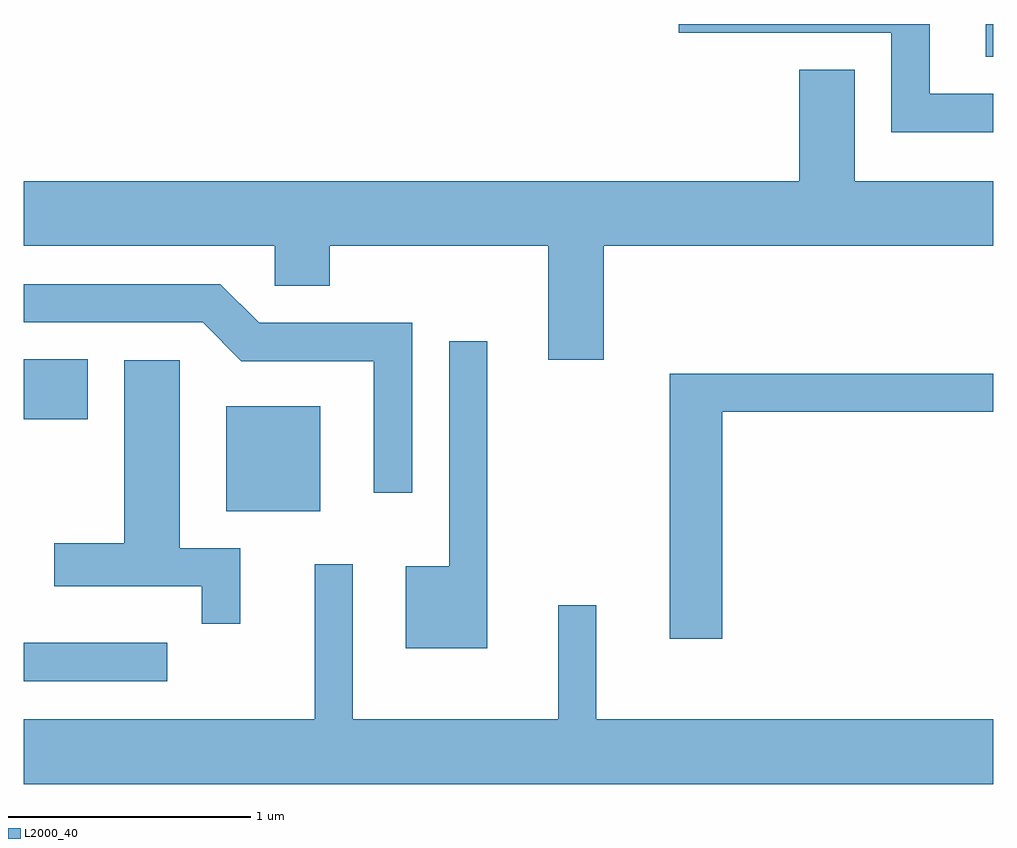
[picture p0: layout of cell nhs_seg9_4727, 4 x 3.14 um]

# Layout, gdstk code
import gdstk
lib = gdstk.Library(unit=1e-6, precision=1e-09)
def R(c, l, rs):  # rectangles x0, y0, x1, y1
    for r in rs: c.add(gdstk.rectangle(r[:2], r[2:], *l))
def P(c, l, *ps):  # polygons
    for p in ps: c.add(gdstk.Polygon(p, *l))
L2000_40 = (2000, 40)

nhs_seg9_4727 = lib.new_cell('nhs_seg9_4727')
R(nhs_seg9_4727, L2000_40, [(323.611,2067.721,324.203,2067.879), (324.446,2068.421,324.834,2068.854), (323.611,2068.801,323.874,2069.049), (327.581,2070.296,327.611,2070.432)])
P(nhs_seg9_4727, L2000_40, [(327.611,2070.144),(327.349,2070.144),(327.349,2070.432),(326.313,2070.432),(326.313,2070.396),(327.191,2070.396),(327.191,2069.986),(327.611,2069.986)],
  [(326.004,2069.516),(327.611,2069.516),(327.611,2069.784),(327.039,2069.784),(327.039,2070.244),(326.811,2070.244),(326.811,2069.784),(323.611,2069.784),(323.611,2069.516),(324.646,2069.516),(324.646,2069.351),(324.874,2069.351),(324.874,2069.516),(325.776,2069.516),(325.776,2069.046),(326.004,2069.046)],
  [(325.214,2069.199),(324.582,2069.199),(324.422,2069.359),(323.611,2069.359),(323.611,2069.201),(324.349,2069.201),(324.509,2069.041),(325.056,2069.041),(325.056,2068.498),(325.214,2068.498)],
  [(325.524,2069.123),(325.366,2069.123),(325.366,2068.194),(325.186,2068.194),(325.186,2067.856),(325.524,2067.856)],
  [(324.504,2068.269),(324.254,2068.269),(324.254,2069.044),(324.026,2069.044),(324.026,2068.289),(323.736,2068.289),(323.736,2068.111),(324.346,2068.111),(324.346,2067.958),(324.504,2067.958)],
  [(326.494,2068.831),(327.611,2068.831),(327.611,2068.989),(326.276,2068.989),(326.276,2067.896),(326.494,2067.896)],
  [(327.611,2067.564),(325.974,2067.564),(325.974,2068.033),(325.816,2068.033),(325.816,2067.564),(324.969,2067.564),(324.969,2068.202),(324.811,2068.202),(324.811,2067.564),(323.611,2067.564),(323.611,2067.296),(327.611,2067.296)])

lib.write_gds('nhs_seg9_4727.gds')
